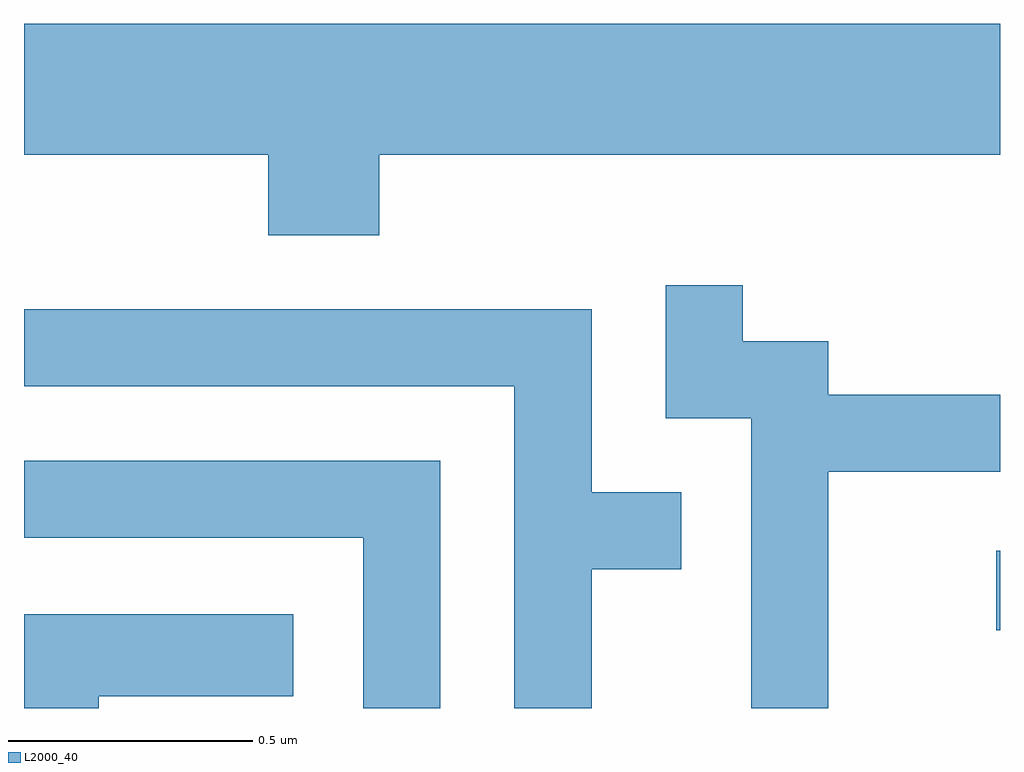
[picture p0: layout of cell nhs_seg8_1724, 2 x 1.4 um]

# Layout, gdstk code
import gdstk
lib = gdstk.Library(unit=1e-6, precision=1e-09)
def R(c, l, rs):  # rectangles x0, y0, x1, y1
    for r in rs: c.add(gdstk.rectangle(r[:2], r[2:], *l))
def P(c, l, *ps):  # polygons
    for p in ps: c.add(gdstk.Polygon(p, *l))
L2000_40 = (2000, 40)

nhs_seg8_1724 = lib.new_cell('nhs_seg8_1724')
R(nhs_seg8_1724, L2000_40, [(199.603,1886.501,199.611,1886.664)])
P(nhs_seg8_1724, L2000_40, [(198.339,1887.476),(199.611,1887.476),(199.611,1887.744),(197.611,1887.744),(197.611,1887.476),(198.111,1887.476),(198.111,1887.311),(198.339,1887.311)],
  [(199.259,1886.826),(199.611,1886.826),(199.611,1886.984),(199.259,1886.984),(199.259,1887.094),(199.084,1887.094),(199.084,1887.208),(198.926,1887.208),(198.926,1886.936),(199.101,1886.936),(199.101,1886.342),(199.259,1886.342)],
  [(198.774,1886.626),(198.958,1886.626),(198.958,1886.784),(198.774,1886.784),(198.774,1887.159),(197.611,1887.159),(197.611,1887.001),(198.616,1887.001),(198.616,1886.342),(198.774,1886.342)],
  [(198.464,1886.849),(197.611,1886.849),(197.611,1886.691),(198.306,1886.691),(198.306,1886.342),(198.464,1886.342)],
  [(197.764,1886.366),(198.163,1886.366),(198.163,1886.534),(197.611,1886.534),(197.611,1886.342),(197.764,1886.342)])

lib.write_gds('nhs_seg8_1724.gds')
